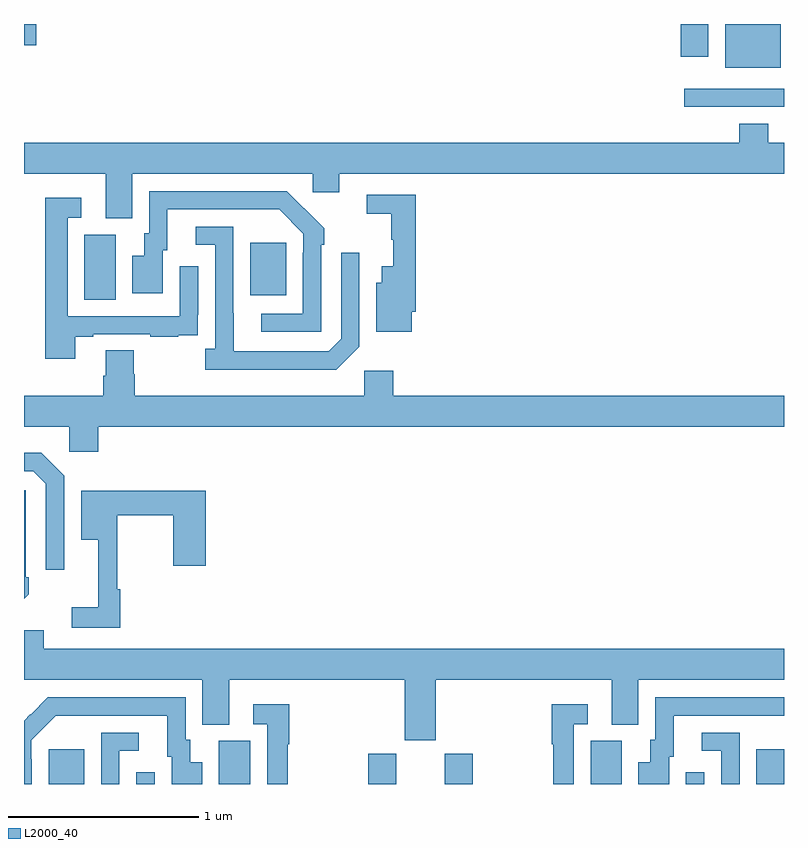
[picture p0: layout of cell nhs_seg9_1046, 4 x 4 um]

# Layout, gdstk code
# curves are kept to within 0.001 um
import gdstk
lib = gdstk.Library(unit=1e-6, precision=1e-09)
def R(c, l, rs):  # rectangles x0, y0, x1, y1
    for r in rs: c.add(gdstk.rectangle(r[:2], r[2:], *l))
def P(c, l, *ps):  # polygons
    for p in ps: c.add(gdstk.Polygon(p, *l))
L2000_40 = (2000, 40)

nhs_seg9_1046 = lib.new_cell('nhs_seg9_1046')
R(nhs_seg9_1046, L2000_40, [(167.129,1234.5,167.317,1234.684), (167.592,1234.5,167.688,1234.561), (168.026,1234.5,168.19,1234.728), (168.811,1234.5,168.958,1234.659), (169.214,1234.5,169.362,1234.659), (169.982,1234.5,170.146,1234.728), (170.484,1234.5,170.58,1234.561), (170.855,1234.5,171,1234.684), (167.318,1237.048,167.482,1237.392), (168.191,1237.073,168.379,1237.348), (170.475,1238.064,171,1238.16), (170.69,1238.27,170.983,1238.5), (170.456,1238.328,170.602,1238.5), (167,1238.387,167.065,1238.5)])
P(nhs_seg9_1046, L2000_40, [(167.569,1237.712),(168.519,1237.712),(168.519,1237.614),(168.658,1237.614),(168.658,1237.712),(171,1237.712),(171,1237.876),(170.917,1237.876),(170.917,1237.975),(170.765,1237.975),(170.765,1237.876),(167,1237.876),(167,1237.712),(167.429,1237.712),(167.429,1237.477),(167.569,1237.477)],
  [(168.564,1237.337),(168.579,1237.337),(168.579,1237.425),(168.382,1237.62),(167.658,1237.62),(167.658,1237.398),(167.633,1237.398),(167.633,1237.279),(167.57,1237.279),(167.57,1237.083),(167.731,1237.083),(167.731,1237.308),(167.755,1237.308),(167.755,1237.524),(168.343,1237.524),(168.471,1237.395),(168.471,1237.295),(168.468,1237.295),(168.468,1236.975),(168.249,1236.975),(168.249,1236.879),(168.564,1236.879)],
  [(169.042,1236.985),(169.061,1236.985),(169.061,1237.602),(168.804,1237.602),(168.804,1237.501),(168.933,1237.501),(168.933,1237.365),(168.944,1237.365),(168.944,1237.225),(168.884,1237.225),(168.884,1237.138),(168.854,1237.138),(168.854,1236.881),(169.042,1236.881)],
  [(167.269,1236.855),(167.365,1236.855),(167.365,1236.867),(167.665,1236.867),(167.665,1236.855),(167.813,1236.855),(167.813,1236.861),(167.915,1236.861),(167.915,1236.97),(167.916,1236.97),(167.916,1237.225),(167.82,1237.225),(167.82,1236.963),(167.229,1236.963),(167.229,1237.479),(167.302,1237.479),(167.302,1237.585),(167.113,1237.585),(167.113,1236.738),(167.269,1236.738)],
  [(168.765,1236.801),(168.765,1237.297),(168.669,1237.297),(168.669,1236.843),(168.603,1236.777),(168.103,1236.777),(168.102,1237.434),(167.904,1237.434),(167.904,1237.338),(168.006,1237.338),(168.006,1236.79),(167.955,1236.79),(167.955,1236.68),(168.644,1236.68)],
  [(167.39,1236.38),(171,1236.38),(171,1236.544),(168.944,1236.544),(168.944,1236.676),(168.792,1236.676),(168.792,1236.544),(167.582,1236.544),(167.582,1236.657),(167.577,1236.657),(167.577,1236.782),(167.429,1236.782),(167.429,1236.65),(167.417,1236.65),(167.417,1236.544),(167,1236.544),(167,1236.38),(167.238,1236.38),(167.238,1236.249),(167.39,1236.249)],
  [(167.211,1236.123),(167.09,1236.244),(167,1236.244),(167,1236.147),(167.049,1236.147),(167.115,1236.081),(167.115,1235.628),(167.211,1235.628)],
  [(167.025,1235.499),(167.025,1235.587),(167.01,1235.587),(167.01,1236.045),(167,1236.045),(167,1235.474)],
  [(167.507,1235.525),(167.492,1235.525),(167.492,1235.914),(167.786,1235.914),(167.786,1235.649),(167.957,1235.649),(167.957,1236.043),(167.3,1236.043),(167.3,1235.786),(167.39,1235.786),(167.39,1235.431),(167.25,1235.431),(167.25,1235.322),(167.507,1235.322)],
  [(169.168,1235.048),(170.093,1235.048),(170.093,1234.813),(170.233,1234.813),(170.233,1235.048),(171,1235.048),(171,1235.212),(167.104,1235.212),(167.104,1235.31),(167,1235.31),(167,1235.048),(167.939,1235.048),(167.939,1234.813),(168.079,1234.813),(168.079,1235.048),(169.004,1235.048),(169.004,1234.731),(169.168,1234.731)],
  [(167.04,1234.631),(167.037,1234.631),(167.037,1234.731),(167.166,1234.86),(167.753,1234.86),(167.753,1234.644),(167.777,1234.644),(167.777,1234.5),(167.938,1234.5),(167.938,1234.615),(167.875,1234.615),(167.875,1234.734),(167.85,1234.734),(167.85,1234.956),(167.126,1234.956),(167.035,1234.865),(167.034,1234.866),(167,1234.832),(167,1234.5),(167.04,1234.5)],
  [(170.395,1234.644),(170.419,1234.644),(170.419,1234.86),(171,1234.86),(171,1234.956),(170.322,1234.956),(170.322,1234.734),(170.297,1234.734),(170.297,1234.615),(170.234,1234.615),(170.234,1234.5),(170.395,1234.5)],
  [(168.388,1234.708),(168.395,1234.708),(168.395,1234.921),(168.207,1234.921),(168.207,1234.815),(168.279,1234.815),(168.279,1234.5),(168.388,1234.5)],
  [(169.893,1234.815),(169.966,1234.815),(169.966,1234.921),(169.777,1234.921),(169.777,1234.708),(169.785,1234.708),(169.785,1234.5),(169.893,1234.5)],
  [(170.766,1234.77),(170.568,1234.77),(170.568,1234.674),(170.67,1234.674),(170.67,1234.5),(170.766,1234.5)],
  [(167.502,1234.674),(167.605,1234.674),(167.605,1234.77),(167.406,1234.77),(167.406,1234.5),(167.502,1234.5)])

lib.write_gds('nhs_seg9_1046.gds')
